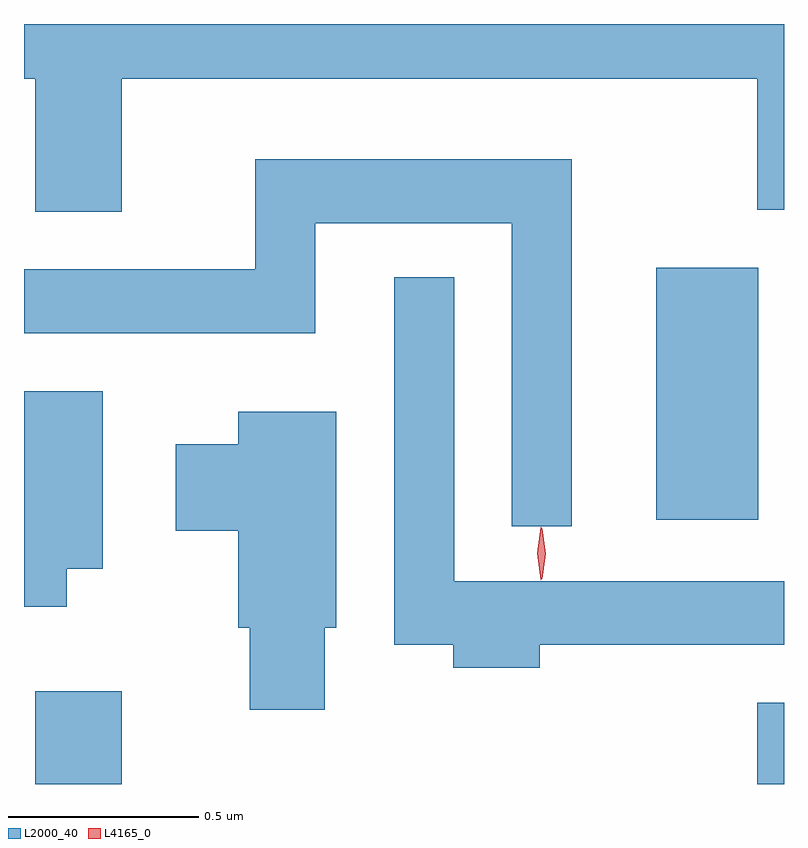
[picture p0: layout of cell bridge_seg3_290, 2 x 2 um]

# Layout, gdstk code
import gdstk
lib = gdstk.Library(unit=1e-6, precision=1e-09)
def R(c, l, rs):  # rectangles x0, y0, x1, y1
    for r in rs: c.add(gdstk.rectangle(r[:2], r[2:], *l))
def P(c, l, *ps):  # polygons
    for p in ps: c.add(gdstk.Polygon(p, *l))
L2000_40 = (2000, 40)
L4165_0 = (4165, 0)

bridge_seg3_290 = lib.new_cell('bridge_seg3_290')
R(bridge_seg3_290, L2000_40, [(1018.371,1135.26,1018.599,1135.504), (1020.271,1135.26,1020.342,1135.474), (1020.006,1135.956,1020.274,1136.619)])
P(bridge_seg3_290, L2000_40, [(1018.599,1137.116),(1020.271,1137.116),(1020.271,1136.771),(1020.342,1136.771),(1020.342,1137.26),(1018.342,1137.26),(1018.342,1137.116),(1018.371,1137.116),(1018.371,1136.766),(1018.599,1136.766)],
  [(1019.784,1136.904),(1018.951,1136.904),(1018.951,1136.614),(1018.342,1136.614),(1018.342,1136.446),(1019.109,1136.446),(1019.109,1136.736),(1019.626,1136.736),(1019.626,1135.938),(1019.784,1135.938)],
  [(1019.699,1135.626),(1020.342,1135.626),(1020.342,1135.794),(1019.474,1135.794),(1019.474,1136.593),(1019.316,1136.593),(1019.316,1135.626),(1019.471,1135.626),(1019.471,1135.566),(1019.699,1135.566)],
  [(1018.454,1135.826),(1018.549,1135.826),(1018.549,1136.294),(1018.342,1136.294),(1018.342,1135.726),(1018.454,1135.726)],
  [(1019.134,1135.671),(1019.164,1135.671),(1019.164,1136.239),(1018.906,1136.239),(1018.906,1136.154),(1018.741,1136.154),(1018.741,1135.926),(1018.906,1135.926),(1018.906,1135.671),(1018.936,1135.671),(1018.936,1135.456),(1019.134,1135.456)])
P(bridge_seg3_290, L4165_0, [(1019.702,1135.797),(1019.702,1135.798),(1019.692,1135.867),(1019.702,1135.936),(1019.702,1135.936),(1019.703,1135.936),(1019.712,1135.867),(1019.703,1135.798)],
  [(1019.705,1135.8),(1019.705,1135.8),(1019.695,1135.866),(1019.705,1135.932),(1019.705,1135.933),(1019.706,1135.932),(1019.715,1135.866),(1019.706,1135.8)])

lib.write_gds('bridge_seg3_290.gds')
